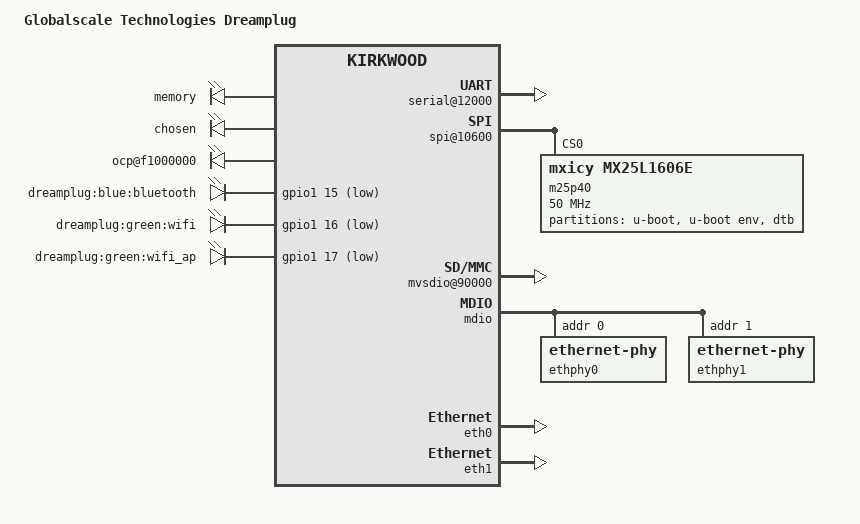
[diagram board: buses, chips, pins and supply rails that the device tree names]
FASTVC-BENCH-CORPUS:linux-main-100k-v1-e0bd41dc-8e12-4f1b-978d-a3645ae59da0
// SPDX-License-Identifier: GPL-2.0
/dts-v1/;

#include "kirkwood.dtsi"
#include "kirkwood-6281.dtsi"

/ {
	model = "Globalscale Technologies Dreamplug";
	compatible = "globalscale,dreamplug-003-ds2001", "globalscale,dreamplug", "marvell,kirkwood-88f6281", "marvell,kirkwood";

	memory {
		device_type = "memory";
		reg = <0x00000000 0x20000000>;
	};

	chosen {
		bootargs = "console=ttyS0,115200n8 earlyprintk";
		stdout-path = &uart0;
	};

	ocp@f1000000 {
		pinctrl: pin-controller@10000 {
			pmx_led_bluetooth: pmx-led-bluetooth {
				marvell,pins = "mpp47";
				marvell,function = "gpio";
			};
			pmx_led_wifi: pmx-led-wifi {
				marvell,pins = "mpp48";
				marvell,function = "gpio";
			};
			pmx_led_wifi_ap: pmx-led-wifi-ap {
				marvell,pins = "mpp49";
				marvell,function = "gpio";
			};
		};
		serial@12000 {
			status = "okay";
		};

		spi@10600 {
			status = "okay";

			m25p40@0 {
				#address-cells = <1>;
				#size-cells = <1>;
				compatible = "mxicy,mx25l1606e", "jedec,spi-nor";
				reg = <0>;
				spi-max-frequency = <50000000>;
				mode = <0>;

				partition@0 {
					reg = <0x0 0x80000>;
					label = "u-boot";
				};

				partition@100000 {
					reg = <0x100000 0x10000>;
					label = "u-boot env";
				};

				partition@180000 {
					reg = <0x180000 0x10000>;
					label = "dtb";
				};
			};
		};

/* bench 15086.0.0 d73f50c71ec6 */
/* bench 15086.0.1 bc28ae6dd639 */
/* bench 15086.0.2 faa5a310fa14 */
/* bench 15086.0.3 f77573af2150 */
/* bench 15086.0.4 03a709d6e8a3 */
/* bench 15086.0.5 32d46f4388dc */
/* bench 15086.0.6 eab36deb4e1a */
/* bench 15086.0.7 05e8e72a2851 */
/* bench 15086.0.8 d5d45d4df6a3 */
/* bench 15086.0.9 52e2f2c3ec6b */
			status = "okay";
			nr-ports = <1>;
		};

		mvsdio@90000 {
			pinctrl-0 = <&pmx_sdio>;
			pinctrl-names = "default";
			status = "okay";
			/* No CD or WP GPIOs */
			broken-cd;
		};
	};

	gpio-leds {
		compatible = "gpio-leds";
		pinctrl-0 = <&pmx_led_bluetooth &pmx_led_wifi
			     &pmx_led_wifi_ap >;
		pinctrl-names = "default";

		bluetooth {
			label = "dreamplug:blue:bluetooth";
			gpios = <&gpio1 15 GPIO_ACTIVE_LOW>;
		};
		wifi {
			label = "dreamplug:green:wifi";
			gpios = <&gpio1 16 GPIO_ACTIVE_LOW>;
		};
		wifi-ap {
			label = "dreamplug:green:wifi_ap";
			gpios = <&gpio1 17 GPIO_ACTIVE_LOW>;
		};
	};
/* bench 5020.1.0 68db276292c7 */
/* bench 5020.1.1 ad0a86d124e7 */
/* bench 5020.1.2 7699f06245fe */
/* bench 5020.1.3 481bbe580796 */
/* bench 5020.1.4 cdc507b60255 */
/* bench 5020.1.5 0725dad781bf */
/* bench 5020.1.6 dd0ef6ae56f7 */

&mdio {
	status = "okay";

	ethphy0: ethernet-phy@0 {
		reg = <0>;
	};

	ethphy1: ethernet-phy@1 {
		reg = <1>;
	};
};

&eth0 {
	status = "okay";
	ethernet0-port@0 {
		phy-handle = <&ethphy0>;
	};
};

&eth1 {
	status = "okay";
	ethernet1-port@0 {
		phy-handle = <&ethphy1>;
	};
};
